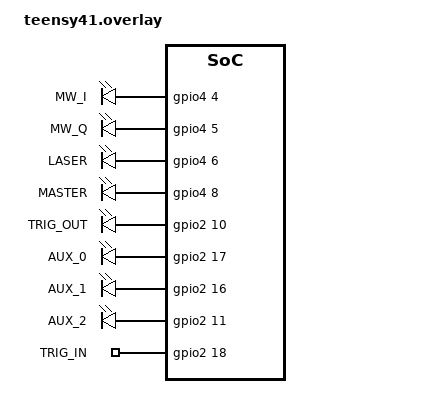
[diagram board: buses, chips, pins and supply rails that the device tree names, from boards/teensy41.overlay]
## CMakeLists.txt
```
# SPDX-License-Identifier: Apache-2.0
# NV-Center Quantum Controller Firmware
# Target: Teensy 4.1 (NXP i.MX RT1062)

cmake_minimum_required(VERSION 3.20.0)

find_package(Zephyr REQUIRED HINTS $ENV{ZEPHYR_BASE})
project(nv_center_controller)

target_sources(app PRIVATE
    src/main.c
    src/sequencer.c
    src/event_table.c
    src/usb_comm.c
    src/adc_sync.c
    src/xbar_routing.c
)

target_include_directories(app PRIVATE
    ${CMAKE_CURRENT_SOURCE_DIR}/include
)

# Enable link-time optimization for timing-critical code
if(CONFIG_LTO)
    set_property(TARGET app PROPERTY INTERPROCEDURAL_OPTIMIZATION TRUE)
endif()
```

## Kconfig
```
# NV-Center Controller Kconfig

mainmenu "NV-Center Controller Configuration"

config NV_SEQUENCER_MAX_EVENTS
    int "Maximum number of events in pulse sequence"
    default 4096
    range 64 65536
    help
      Maximum number of pulse events that can be stored in
      a single sequence. Each event is 16 bytes.

config NV_SEQUENCER_DMA_BUFFER_SIZE
    int "DMA buffer size for GPIO updates"
    default 256
    range 32 1024
    help
      Size of DMA ping-pong buffers for GPIO port updates.
      Larger buffers reduce interrupt overhead but increase latency.

config NV_SEQUENCER_TIMER_RESOLUTION_NS
    int "Timer resolution in nanoseconds"
    default 10
    range 1 1000
    help
      Minimum timing resolution for pulse edges.
      Lower values require higher timer frequency.

config NV_USB_RX_BUFFER_SIZE
    int "USB receive buffer size"
    default 4096
    range 512 65536
    help
      Size of USB CDC receive ring buffer.

config NV_USB_TX_BUFFER_SIZE
    int "USB transmit buffer size"
    default 2048
    range 512 32768
    help
      Size of USB CDC transmit ring buffer.

config NV_ADC_SAMPLE_BUFFER_SIZE
    int "ADC sample buffer size"
    default 1024
    range 128 8192
    help
      Number of ADC samples to buffer before transfer.

config NV_CHANNEL_MW_I_PIN
    int "MW I channel GPIO pin"
    default 2
    help
      GPIO pin number for Microwave I (in-phase) TTL output.

config NV_CHANNEL_MW_Q_PIN
    int "MW Q channel GPIO pin"
    default 3
    help
      GPIO pin number for Microwave Q (quadrature) TTL output.

config NV_CHANNEL_LASER_PIN
    int "Laser channel GPIO pin"
    default 4
    help
      GPIO pin number for Laser TTL output.

config NV_CHANNEL_MASTER_PIN
    int "Master pulse (lock-in) GPIO pin"
    default 5
    help
      GPIO pin number for Master pulse TTL output (lock-in reference).

config NV_CHANNEL_TRIGGER_OUT_PIN
    int "Trigger output GPIO pin"
    default 6
    help
      GPIO pin for external trigger output.

config NV_CHANNEL_TRIGGER_IN_PIN
    int "Trigger input GPIO pin"
    default 7
    help
      GPIO pin for external trigger input.

source "Kconfig.zephyr"
```

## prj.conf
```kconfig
# NV-Center Controller - Zephyr Project Configuration
# Target: Teensy 4.1 (i.MX RT1062 @ 600MHz)
#
# Build with: west build -p always -b teensy41 -S cdc-acm-console

# Core Configuration
CONFIG_MAIN_STACK_SIZE=4096
CONFIG_SYSTEM_WORKQUEUE_STACK_SIZE=2048
CONFIG_HEAP_MEM_POOL_SIZE=16384

# GPIO for TTL outputs
CONFIG_GPIO=y

# Serial and UART (required for CDC-ACM)
CONFIG_SERIAL=y
CONFIG_UART_INTERRUPT_DRIVEN=y
CONFIG_UART_LINE_CTRL=y

# Console configuration
CONFIG_CONSOLE=y
CONFIG_UART_CONSOLE=y

# Kernel timing
CONFIG_SYS_CLOCK_TICKS_PER_SEC=10000
CONFIG_TICKLESS_KERNEL=y

# Thread configuration
CONFIG_NUM_PREEMPT_PRIORITIES=16

# Logging
CONFIG_LOG=y
CONFIG_LOG_DEFAULT_LEVEL=2

# Shell for debugging
CONFIG_SHELL=y
CONFIG_SHELL_BACKEND_SERIAL=y

# Enable printk
CONFIG_PRINTK=y
CONFIG_BOOT_BANNER=n

# Ring buffer for event queue
CONFIG_RING_BUFFER=y

# Assertions for development (disable for production)
CONFIG_ASSERT=y

# Floating point
CONFIG_FPU=y

# USB Device settings (VID/PID customization)
CONFIG_USB_DEVICE_PRODUCT="NV-Center Controller"
CONFIG_USB_DEVICE_MANUFACTURER="QController"
CONFIG_USB_DEVICE_VID=0x16C0
CONFIG_USB_DEVICE_PID=0x0483
```

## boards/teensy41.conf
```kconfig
# Teensy 4.1 specific configuration
# i.MX RT1062 @ 600MHz

# Enable high-speed GPIO
CONFIG_GPIO_MCUX_IGPIO=y

# USB device driver for i.MX RT
CONFIG_USB_DC_NXP_EHCI=y

# FPU for any signal processing
CONFIG_FPU=y
```

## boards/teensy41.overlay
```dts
/*
 * NV-Center Controller - Teensy 4.1 Device Tree Overlay
 *
 * SPDX-License-Identifier: Apache-2.0
 *
 * Minimal overlay for NV-center pulse sequencer.
 * GPT and other peripherals are accessed via direct register
 * manipulation in the firmware for deterministic timing.
 *
 * USB CDC-ACM is configured via the -S cdc-acm-console snippet.
 * Build with: west build -p always -b teensy41 -S cdc-acm-console
 */

/ {
    /* NV-Center Controller pin definitions */
    nv_controller: nv-controller {
        compatible = "gpio-leds";
        status = "okay";

        /*
         * TTL Channel GPIO assignments (Teensy 4.1 pinout)
         *
         * Teensy Pin -> i.MX RT1062 GPIO
         * Pin 2  -> GPIO4.IO04 (GPIO_EMC_04)
         * Pin 3  -> GPIO4.IO05 (GPIO_EMC_05)
         * Pin 4  -> GPIO4.IO06 (GPIO_EMC_06)
         * Pin 5  -> GPIO4.IO08 (GPIO_EMC_08)
         * Pin 6  -> GPIO2.IO10 (GPIO_B0_10)
         * Pin 7  -> GPIO2.IO17 (GPIO_B1_01)
         * Pin 8  -> GPIO2.IO16 (GPIO_B1_00)
         * Pin 9  -> GPIO2.IO11 (GPIO_B0_11)
         */

        mw_i: mw-i {
            gpios = <&gpio4 4 GPIO_ACTIVE_HIGH>;
            label = "MW_I";
        };

        mw_q: mw-q {
            gpios = <&gpio4 5 GPIO_ACTIVE_HIGH>;
            label = "MW_Q";
        };

        laser: laser {
            gpios = <&gpio4 6 GPIO_ACTIVE_HIGH>;
            label = "LASER";
        };

        master: master {
            gpios = <&gpio4 8 GPIO_ACTIVE_HIGH>;
            label = "MASTER";
        };

        trig_out: trig-out {
            gpios = <&gpio2 10 GPIO_ACTIVE_HIGH>;
            label = "TRIG_OUT";
        };

        aux_0: aux-0 {
            gpios = <&gpio2 17 GPIO_ACTIVE_HIGH>;
            label = "AUX_0";
        };

        aux_1: aux-1 {
            gpios = <&gpio2 16 GPIO_ACTIVE_HIGH>;
            label = "AUX_1";
        };

        aux_2: aux-2 {
            gpios = <&gpio2 11 GPIO_ACTIVE_HIGH>;
            label = "AUX_2";
        };
    };

    /* Trigger input pin */
    nv_trigger_in: nv-trigger-in {
        compatible = "gpio-keys";
        status = "okay";

        trig_in: trig-in {
            gpios = <&gpio2 18 (GPIO_ACTIVE_HIGH | GPIO_PULL_DOWN)>;
            label = "TRIG_IN";
        };
    };
};

/* Enable required GPIO ports */
&gpio1 {
    status = "okay";
};

&gpio2 {
    status = "okay";
};

&gpio4 {
    status = "okay";
};
```

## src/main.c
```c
/*
 * NV-Center Controller - Main Application
 *
 * SPDX-License-Identifier: Apache-2.0
 *
 * Firmware for NV-center quantum sensing experiments.
 * Target: Teensy 4.1 (NXP i.MX RT1062)
 * RTOS: Zephyr
 *
 * Features:
 * - Hardware-timed pulse sequence generation (<10ns jitter)
 * - USB CDC communication with host UI
 * - Phase-aligned ADC acquisition via ADC_ETC
 * - Standard NV sensing sequences (Rabi, Ramsey, Hahn Echo, ODMR)
 *
 * Architecture:
 * ┌─────────────────────────────────────────────────────────────────┐
 * │                        Host PC (UI)                             │
 * └───────────────────────────┬─────────────────────────────────────┘
 *                             │ USB CDC
 *                             ▼
 * ┌─────────────────────────────────────────────────────────────────┐
 * │                    USB Communication                            │
 * │                   (usb_comm.c)                                   │
 * └───────────────────────────┬─────────────────────────────────────┘
 *                             │
 *              ┌──────────────┼──────────────┐
 *              ▼              ▼              ▼
 * ┌───────────────────┐ ┌───────────┐ ┌───────────────┐
 * │    Sequencer      │ │   ADC     │ │   Direct I/O  │
 * │  (sequencer.c)    │ │(adc_sync) │ │   Control     │
 * └─────────┬─────────┘ └─────┬─────┘ └───────────────┘
 *           │                 │
 *           ▼                 ▼
 * ┌───────────────────────────────────────────┐
 * │              XBAR Routing                 │
 * │           (xbar_routing.c)                │
 * └───────────────────────────────────────────┘
 *           │                 │
 *           ▼                 ▼
 * ┌─────────────────┐  ┌─────────────────┐
 * │   GPT Timer     │  │    ADC_ETC      │
 * │   + DMA         │  │                 │
 * └────────┬────────┘  └────────┬────────┘
 *          │                    │
 *          ▼                    ▼
 * ┌─────────────────┐  ┌─────────────────┐
 * │     GPIO        │  │      ADC        │
 * │   (TTL Out)     │  │   (12-bit)      │
 * └─────────────────┘  └─────────────────┘
 */

#include <zephyr/kernel.h>
#include <zephyr/device.h>
#include <zephyr/drivers/gpio.h>
#include <zephyr/shell/shell.h>
#include <zephyr/logging/log.h>
#include <zephyr/sys/printk.h>

#include "nv_controller.h"
#include "sequencer.h"
#include "event_table.h"
#include "usb_comm.h"
#include "adc_sync.h"
#include "xbar_routing.h"

LOG_MODULE_REGISTER(main, CONFIG_LOG_DEFAULT_LEVEL);

/*
 * Thread stack sizes and priorities
 */
#define USB_THREAD_STACK_SIZE   2048
#define USB_THREAD_PRIORITY     5

#define STATUS_LED_STACK_SIZE   512
#define STATUS_LED_PRIORITY     10

/*
 * Thread stacks
 */
K_THREAD_STACK_DEFINE(usb_thread_stack, USB_THREAD_STACK_SIZE);
K_THREAD_STACK_DEFINE(status_led_stack, STATUS_LED_STACK_SIZE);

static struct k_thread usb_thread_data;
static struct k_thread status_led_thread_data;

/*
 * Global state
 */
static nv_status_t controller_status = NV_STATUS_IDLE;
static nv_statistics_t controller_stats;

/* Status LED (Teensy 4.1 onboard LED = GPIO1.2) */
static const struct gpio_dt_spec status_led = {
    .port = DEVICE_DT_GET(DT_NODELABEL(gpio1)),
    .pin = 2,
    .dt_flags = GPIO_ACTIVE_HIGH,
};

/*
 * Sequence completion callback
 */
static void sequence_complete_callback(nv_status_t status, void *user_data)
{
    ARG_UNUSED(user_data);

    controller_stats.sequences_completed++;

    LOG_INF("Sequence completed, status=%d", status);

    /* Send completion event to host */
    uint8_t event_data[4] = {
        status,
        controller_stats.sequences_completed & 0xFF,
        (controller_stats.sequences_completed >> 8) & 0xFF,
        0
    };
    usb_comm_send_event(EVENT_SEQ_COMPLETE, event_data, sizeof(event_data));
}

/*
 * ADC data ready callback
 */
static void adc_data_ready_callback(const uint16_t *data, uint32_t count,
                                    uint32_t timestamp, void *user_data)
{
    ARG_UNUSED(user_data);

    LOG_DBG("ADC data ready: %u samples at t=%u", count, timestamp);

    /* Send ADC ready event to host */
    uint8_t event_data[8] = {
        count & 0xFF,
        (count >> 8) & 0xFF,
        (count >> 16) & 0xFF,
        (count >> 24) & 0xFF,
        timestamp & 0xFF,
        (timestamp >> 8) & 0xFF,
        (timestamp >> 16) & 0xFF,
        (timestamp >> 24) & 0xFF,
    };
    usb_comm_send_event(EVENT_ADC_READY, event_data, sizeof(event_data));
}

/*
 * USB communication thread
 */
static void usb_thread_entry(void *p1, void *p2, void *p3)
{
    ARG_UNUSED(p1);
    ARG_UNUSED(p2);
    ARG_UNUSED(p3);

    LOG_INF("USB communication thread started");

    while (1) {
        /* Process USB commands */
        usb_comm_process();

        /* Yield to other threads */
        k_msleep(1);
    }
}

/*
 * Status LED thread - indicates system state
 */
static void status_led_thread_entry(void *p1, void *p2, void *p3)
{
    ARG_UNUSED(p1);
    ARG_UNUSED(p2);
    ARG_UNUSED(p3);

    if (!device_is_ready(status_led.port)) {
        LOG_WRN("Status LED GPIO not ready");
        return;
    }

    gpio_pin_configure_dt(&status_led, GPIO_OUTPUT_INACTIVE);

    while (1) {
        seq_state_t state;
        seq_get_state(&state);

        switch (state.status) {
        case NV_STATUS_IDLE:
            /* Slow blink - idle */
            gpio_pin_toggle_dt(&status_led);
            k_msleep(1000);
            break;

        case NV_STATUS_ARMED:
            /* Medium blink - armed */
            gpio_pin_toggle_dt(&status_led);
            k_msleep(250);
            break;

        case NV_STATUS_RUNNING:
            /* Fast blink - running */
            gpio_pin_toggle_dt(&status_led);
            k_msleep(50);
            break;

        case NV_STATUS_ERROR:
            /* Double blink - error */
            gpio_pin_set_dt(&status_led, 1);
            k_msleep(100);
            gpio_pin_set_dt(&status_led, 0);
            k_msleep(100);
            gpio_pin_set_dt(&status_led, 1);
            k_msleep(100);
            gpio_pin_set_dt(&status_led, 0);
            k_msleep(700);
            break;

        default:
            k_msleep(500);
            break;
        }
    }
}

/*
 * Shell Commands for debugging
 */

static int cmd_status(const struct shell *sh, size_t argc, char **argv)
{
    ARG_UNUSED(argc);
    ARG_UNUSED(argv);

    seq_state_t state;
    seq_get_state(&state);

    shell_print(sh, "NV-Center Controller Status");
    shell_print(sh, "===========================");
    shell_print(sh, "Version: %d.%d.%d",
                NV_CONTROLLER_VERSION_MAJOR,
                NV_CONTROLLER_VERSION_MINOR,
                NV_CONTROLLER_VERSION_PATCH);
    shell_print(sh, "Status: %d", state.status);
    shell_print(sh, "Current event: %u", state.current_event_index);
    shell_print(sh, "Events remaining: %u", state.events_remaining);
    shell_print(sh, "Loops completed: %u", state.loops_completed);
    shell_print(sh, "Output state: 0x%02X", state.current_output);
    shell_print(sh, "Timer count: %u", state.current_timestamp);
    shell_print(sh, "Uptime: %u ms", k_uptime_get_32());

    return 0;
}

static int cmd_stats(const struct shell *sh, size_t argc, char **argv)
{
    ARG_UNUSED(argc);
    ARG_UNUSED(argv);

    shell_print(sh, "Statistics");
    shell_print(sh, "==========");
    shell_print(sh, "Sequences completed: %u", controller_stats.sequences_completed);
    shell_print(sh, "Events executed: %u", controller_stats.events_executed);
    shell_print(sh, "Trigger count: %u", controller_stats.trigger_count);
    shell_print(sh, "Overflow count: %u", controller_stats.overflow_count);

    uint32_t rx_bytes, tx_bytes, errors;
    usb_comm_get_stats(&rx_bytes, &tx_bytes, &errors);
    shell_print(sh, "USB RX: %u bytes", rx_bytes);
    shell_print(sh, "USB TX: %u bytes", tx_bytes);
    shell_print(sh, "USB errors: %u", errors);

    return 0;
}

static int cmd_set_output(const struct shell *sh, size_t argc, char **argv)
{
    if (argc < 2) {
        shell_print(sh, "Usage: set_output <mask>");
        return -EINVAL;
    }

    uint8_t mask = strtoul(argv[1], NULL, 0);
    seq_set_outputs(mask);

    shell_print(sh, "Outputs set to 0x%02X", mask);

    return 0;
}

static int cmd_pulse(const struct shell *sh, size_t argc, char **argv)
{
    if (argc < 3) {
        shell_print(sh, "Usage: pulse <channel> <duration_us>");
        return -EINVAL;
    }

    uint8_t channel = strtoul(argv[1], NULL, 0);
    uint32_t duration = strtoul(argv[2], NULL, 0);

    if (channel >= NV_CHANNEL_COUNT) {
        shell_print(sh, "Invalid channel: %d", channel);
        return -EINVAL;
    }

    shell_print(sh, "Generating pulse on channel %d for %u us", channel, duration);

    seq_set_channel(channel, true);
    k_busy_wait(duration);
    seq_set_channel(channel, false);

    return 0;
}

static int cmd_test_sequence(const struct shell *sh, size_t argc, char **argv)
{
    ARG_UNUSED(argc);
    ARG_UNUSED(argv);

    shell_print(sh, "Loading test Rabi sequence...");

    static event_table_t test_table;
    nv_error_t err = event_table_rabi(&test_table, 3, 100, 1, 10);

    if (err != NV_OK) {
        shell_print(sh, "Failed to create sequence: %d", err);
        return -EIO;
    }

    err = seq_load(&test_table);
    if (err != NV_OK) {
        shell_print(sh, "Failed to load sequence: %d", err);
        return -EIO;
    }

    shell_print(sh, "Sequence loaded: %u events", test_table.header.event_count);
    shell_print(sh, "Duration: %u ticks (%u ns)",
                test_table.header.duration_ticks,
                nv_ticks_to_ns(test_table.header.duration_ticks));

    return 0;
}

static int cmd_arm(const struct shell *sh, size_t argc, char **argv)
{
    ARG_UNUSED(argc);
    ARG_UNUSED(argv);

    nv_error_t err = seq_arm();
    if (err != NV_OK) {
        shell_print(sh, "Failed to arm: %d", err);
        return -EIO;
    }

    shell_print(sh, "Sequencer armed");
    return 0;
}

static int cmd_trigger(const struct shell *sh, size_t argc, char **argv)
{
    ARG_UNUSED(argc);
    ARG_UNUSED(argv);

    nv_error_t err = seq_trigger();
    if (err != NV_OK) {
        shell_print(sh, "Failed to trigger: %d", err);
        return -EIO;
    }

    shell_print(sh, "Sequence triggered");
    return 0;
}

static int cmd_abort(const struct shell *sh, size_t argc, char **argv)
{
    ARG_UNUSED(argc);
    ARG_UNUSED(argv);

    seq_abort();
    shell_print(sh, "Sequence aborted");
    return 0;
}

static int cmd_xbar_dump(const struct shell *sh, size_t argc, char **argv)
{
    ARG_UNUSED(argc);
    ARG_UNUSED(argv);

    xbar_dump_config();
    shell_print(sh, "XBAR configuration dumped to log");
    return 0;
}

/* Register shell commands */
SHELL_STATIC_SUBCMD_SET_CREATE(nv_cmds,
    SHELL_CMD(status, NULL, "Show system status", cmd_status),
    SHELL_CMD(stats, NULL, "Show statistics", cmd_stats),
    SHELL_CMD(set_output, NULL, "Set output mask", cmd_set_output),
    SHELL_CMD(pulse, NULL, "Generate pulse <ch> <us>", cmd_pulse),
    SHELL_CMD(test, NULL, "Load test sequence", cmd_test_sequence),
    SHELL_CMD(arm, NULL, "Arm sequencer", cmd_arm),
    SHELL_CMD(trigger, NULL, "Software trigger", cmd_trigger),
    SHELL_CMD(abort, NULL, "Abort sequence", cmd_abort),
    SHELL_CMD(xbar, NULL, "Dump XBAR config", cmd_xbar_dump),
    SHELL_SUBCMD_SET_END
);

SHELL_CMD_REGISTER(nv, &nv_cmds, "NV-Center Controller commands", NULL);

/*
 * Global API Implementation
 */

nv_error_t nv_controller_init(void)
{
    return NV_OK;  /* Initialization done in main() */
}

nv_error_t nv_controller_start(void)
{
    return seq_arm();
}

nv_error_t nv_controller_stop(void)
{
    return seq_abort();
}

nv_status_t nv_controller_get_status(void)
{
    seq_state_t state;
    seq_get_state(&state);
    return state.status;
}

void nv_controller_get_info(nv_system_info_t *info)
{
    if (!info) return;

    info->version_major = NV_CONTROLLER_VERSION_MAJOR;
    info->version_minor = NV_CONTROLLER_VERSION_MINOR;
    info->version_patch = NV_CONTROLLER_VERSION_PATCH;
    info->channel_count = NV_CHANNEL_COUNT;
    info->timer_freq_hz = NV_TIMER_FREQ_HZ;
    info->min_pulse_ns = NV_TIMER_TICK_NS * NV_MIN_PULSE_TICKS;
    info->max_events = CONFIG_NV_SEQUENCER_MAX_EVENTS;
    info->dma_buffer_size = CONFIG_NV_SEQUENCER_DMA_BUFFER_SIZE;
}

void nv_controller_get_statistics(nv_statistics_t *stats)
{
    if (stats) {
        memcpy(stats, &controller_stats, sizeof(nv_statistics_t));
    }
}

void nv_controller_reset_statistics(void)
{
    memset(&controller_stats, 0, sizeof(nv_statistics_t));
}

/*
 * Main Entry Point
 */

int main(void)
{
    nv_error_t err;

    printk("\n");
    printk("==========================================\n");
    printk("  NV-Center Quantum Controller v%d.%d.%d\n",
           NV_CONTROLLER_VERSION_MAJOR,
           NV_CONTROLLER_VERSION_MINOR,
           NV_CONTROLLER_VERSION_PATCH);
    printk("  Target: Teensy 4.1 (i.MX RT1062)\n");
    printk("  Timer: %u MHz, Resolution: %u ns\n",
           NV_TIMER_FREQ_HZ / 1000000,
           NV_TIMER_TICK_NS);
    printk("==========================================\n\n");

    LOG_INF("Initializing NV-Center Controller...");

    /* Initialize XBAR first (required by other subsystems) */
    err = xbar_init();
    if (err != NV_OK) {
        LOG_ERR("Failed to initialize XBAR: %d", err);
        return -1;
    }

    /* Initialize pulse sequencer */
    err = seq_init();
    if (err != NV_OK) {
        LOG_ERR("Failed to initialize sequencer: %d", err);
        return -1;
    }

    /* Set up sequencer callback */
    seq_set_completion_callback(sequence_complete_callback, NULL);

    /* Initialize ADC synchronization (optional - warn but continue if fails) */
    err = adc_sync_init();
    if (err != NV_OK) {
        LOG_WRN("ADC initialization failed: %d (continuing without ADC)", err);
    } else {
        /* Set up ADC callback */
        adc_sync_set_data_callback(adc_data_ready_callback, NULL);
    }

    /* Apply standard NV XBAR configuration */
    err = xbar_apply_nv_config();
    if (err != NV_OK) {
        LOG_ERR("Failed to apply XBAR config: %d", err);
        return -1;
    }

    /* Initialize USB communication */
    err = usb_comm_init();
    if (err != NV_OK) {
        LOG_ERR("Failed to initialize USB: %d", err);
        return -1;
    }

    /* Configure default sequencer settings */
    seq_config_t default_config = {
        .mode = SEQ_MODE_ONESHOT,
        .trigger = NV_TRIGGER_SOFTWARE,
        .repeat_count = 1,
        .trigger_delay_ticks = 0,
        .auto_rearm = false,
        .sync_adc = true,
        .adc_trigger_offset = 0,
    };
    seq_configure(&default_config);

    LOG_INF("Initialization complete");

    /* Create USB processing thread */
    k_thread_create(&usb_thread_data, usb_thread_stack,
                    K_THREAD_STACK_SIZEOF(usb_thread_stack),
                    usb_thread_entry, NULL, NULL, NULL,
                    USB_THREAD_PRIORITY, 0, K_NO_WAIT);
    k_thread_name_set(&usb_thread_data, "usb_comm");

    /* Create status LED thread */
    k_thread_create(&status_led_thread_data, status_led_stack,
                    K_THREAD_STACK_SIZEOF(status_led_stack),
                    status_led_thread_entry, NULL, NULL, NULL,
                    STATUS_LED_PRIORITY, 0, K_NO_WAIT);
    k_thread_name_set(&status_led_thread_data, "status_led");

    LOG_INF("System ready. Waiting for commands...");

    /* Main thread just sleeps - work is done in other threads */
    while (1) {
        k_msleep(1000);
    }

    return 0;
}
```

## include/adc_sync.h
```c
/*
 * NV-Center Controller - ADC Synchronization
 *
 * SPDX-License-Identifier: Apache-2.0
 *
 * Synchronized ADC acquisition using ADC_ETC (External Trigger Control).
 *
 * Architecture:
 *
 * ┌─────────────┐     XBAR      ┌─────────────┐
 * │    GPT1     │──────────────▶│   ADC_ETC   │
 * │  (Compare)  │   Trigger     │  (Chain 0)  │
 * └─────────────┘               └──────┬──────┘
 *                                      │
 *                               ┌──────▼──────┐
 *                               │    ADC1     │
 *                               │  (12-bit)   │
 *                               └──────┬──────┘
 *                                      │ DMA
 *                               ┌──────▼──────┐
 *                               │   Buffer    │
 *                               │  (Ring)     │
 *                               └─────────────┘
 *
 * The ADC_ETC allows precise phase-aligned sampling with the pulse sequence.
 * Trigger events are generated from the master pulse for lock-in detection.
 */

#ifndef ADC_SYNC_H
#define ADC_SYNC_H

#include "nv_controller.h"

#ifdef __cplusplus
extern "C" {
#endif

/*
 * ADC Configuration Constants
 */
#define ADC_MAX_CHANNELS        8
#define ADC_MAX_RESOLUTION      12
#define ADC_MAX_SAMPLE_RATE     3000000  /* 3 MSPS (12-bit) */

#ifndef CONFIG_NV_ADC_SAMPLE_BUFFER_SIZE
#define CONFIG_NV_ADC_SAMPLE_BUFFER_SIZE 1024
#endif

/*
 * ADC Trigger Sources
 */
typedef enum {
    ADC_TRIG_SOFTWARE   = 0,  /* Software trigger */
    ADC_TRIG_GPT1       = 1,  /* GPT1 compare match */
    ADC_TRIG_GPT2       = 2,  /* GPT2 compare match */
    ADC_TRIG_PWM        = 3,  /* FlexPWM trigger */
    ADC_TRIG_EXTERNAL   = 4,  /* External trigger input */
    ADC_TRIG_MASTER     = 5,  /* Master pulse edge */
} adc_trigger_source_t;

/*
 * ADC Status
 */
typedef enum {
    ADC_STATUS_IDLE         = 0,
    ADC_STATUS_CONFIGURED   = 1,
    ADC_STATUS_RUNNING      = 2,
    ADC_STATUS_COMPLETE     = 3,
    ADC_STATUS_ERROR        = 4,
} adc_status_t;

/*
 * ADC Configuration Structure
 */
typedef struct {
    uint8_t channel;            /* ADC input channel (0-7) */
    uint8_t resolution;         /* Resolution in bits (8, 10, 12) */
    uint8_t averaging;          /* Hardware averaging (1, 4, 8, 16, 32) */
    uint8_t trigger_source;     /* adc_trigger_source_t */
    uint32_t sample_count;      /* Number of samples to acquire */
    uint32_t sample_interval_ns; /* Interval between samples (if continuous) */
    bool continuous;            /* Continuous acquisition mode */
    bool double_buffer;         /* Use double buffering for streaming */
} adc_config_t;

/*
 * ADC Sample Buffer
 */
typedef struct {
    uint16_t *data;             /* Sample data buffer */
    uint32_t capacity;          /* Buffer capacity in samples */
    uint32_t count;             /* Number of valid samples */
    uint32_t read_index;        /* Read position (for streaming) */
    uint32_t write_index;       /* Write position (for streaming) */
    uint32_t timestamp;         /* Timestamp of first sample */
    bool overflow;              /* Buffer overflow flag */
} adc_buffer_t;

/*
 * ADC Statistics
 */
typedef struct {
    uint32_t triggers_received;
    uint32_t samples_acquired;
    uint32_t overflows;
    uint32_t underruns;
    uint16_t last_value;
    uint16_t min_value;
    uint16_t max_value;
    uint32_t sum;               /* For averaging */
} adc_statistics_t;

/*
 * Callback types
 */
typedef void (*adc_data_callback_t)(const uint16_t *data,
                                    uint32_t count,
                                    uint32_t timestamp,
                                    void *user_data);

typedef void (*adc_trigger_callback_t)(uint32_t timestamp, void *user_data);

/*
 * ADC Synchronization API
 */

/**
 * @brief Initialize ADC subsystem
 *
 * @return NV_OK on success
 */
nv_error_t adc_sync_init(void);

/**
 * @brief Deinitialize ADC subsystem
 *
 * @return NV_OK on success
 */
nv_error_t adc_sync_deinit(void);

/**
 * @brief Configure ADC channel
 *
 * @param config ADC configuration
 * @return NV_OK on success
 */
nv_error_t adc_sync_configure(const adc_config_t *config);

/**
 * @brief Start ADC acquisition
 *
 * @return NV_OK on success
 */
nv_error_t adc_sync_start(void);

/**
 * @brief Stop ADC acquisition
 *
 * @return NV_OK on success
 */
nv_error_t adc_sync_stop(void);

/**
 * @brief Issue software trigger
 *
 * @return NV_OK on success
 */
nv_error_t adc_sync_trigger(void);

/**
 * @brief Get current ADC status
 *
 * @return ADC status
 */
adc_status_t adc_sync_get_status(void);

/**
 * @brief Get sample buffer
 *
 * @param buffer Pointer to buffer structure to fill
 * @return NV_OK on success
 */
nv_error_t adc_sync_get_buffer(adc_buffer_t *buffer);

/**
 * @brief Read samples from buffer
 *
 * @param data Destination buffer
 * @param max_samples Maximum samples to read
 * @param samples_read Actual samples read (output)
 * @return NV_OK on success
 */
nv_error_t adc_sync_read(uint16_t *data, uint32_t max_samples, uint32_t *samples_read);

/**
 * @brief Get ADC statistics
 *
 * @param stats Pointer to statistics structure
 */
void adc_sync_get_statistics(adc_statistics_t *stats);

/**
 * @brief Reset ADC statistics
 */
void adc_sync_reset_statistics(void);

/**
 * @brief Set data ready callback
 *
 * @param callback Callback function
 * @param user_data User context
 */
void adc_sync_set_data_callback(adc_data_callback_t callback, void *user_data);

/**
 * @brief Set trigger callback
 *
 * @param callback Callback function
 * @param user_data User context
 */
void adc_sync_set_trigger_callback(adc_trigger_callback_t callback, void *user_data);

/**
 * @brief Synchronize ADC with sequencer master pulse
 *
 * Sets up XBAR routing so ADC triggers on master pulse edge.
 *
 * @param offset_ns Offset from master pulse edge in nanoseconds
 * @param sample_count Number of samples per trigger
 * @return NV_OK on success
 */
nv_error_t adc_sync_with_master(int32_t offset_ns, uint32_t sample_count);

/**
 * @brief Enable/disable lock-in integration mode
 *
 * When enabled, ADC accumulates samples for lock-in detection.
 *
 * @param enable Enable flag
 * @param reference_channel Channel providing reference (MASTER)
 * @return NV_OK on success
 */
nv_error_t adc_sync_lockin_mode(bool enable, nv_channel_t reference_channel);

/**
 * @brief Get lock-in integrated result
 *
 * @param in_phase In-phase (X) component
 * @param quadrature Quadrature (Y) component
 * @return NV_OK on success
 */
nv_error_t adc_sync_lockin_result(int32_t *in_phase, int32_t *quadrature);

/*
 * Low-level hardware functions
 */

/**
 * @brief Configure ADC_ETC trigger chain
 *
 * @param chain_id Chain ID (0-7)
 * @param trigger_source Hardware trigger source
 * @return NV_OK on success
 */
nv_error_t adc_etc_configure_chain(uint8_t chain_id, uint8_t trigger_source);

/**
 * @brief Configure XBAR routing for ADC trigger
 *
 * @param source XBAR input signal
 * @param dest XBAR output to ADC_ETC
 * @return NV_OK on success
 */
nv_error_t adc_xbar_route(uint8_t source, uint8_t dest);

/**
 * @brief Setup DMA for ADC transfers
 *
 * @param buffer Destination buffer
 * @param count Number of transfers
 * @param circular Enable circular buffer mode
 * @return NV_OK on success
 */
nv_error_t adc_dma_setup(uint16_t *buffer, uint32_t count, bool circular);

#ifdef __cplusplus
}
#endif

#endif /* ADC_SYNC_H */
```

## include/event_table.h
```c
/*
 * NV-Center Controller - Event Table
 *
 * SPDX-License-Identifier: Apache-2.0
 *
 * Event table structure for storing pulse sequences.
 * Events are stored as time-ordered (timestamp, channel_mask) pairs.
 *
 * Protocol Format (binary, little-endian):
 *
 * Event Entry (8 bytes):
 * ┌────────────────────────────────────────────────────────────┐
 * │ timestamp (4 bytes) │ channel_mask (1 byte) │ flags (1 byte) │ reserved (2 bytes) │
 * └────────────────────────────────────────────────────────────┘
 *
 * Timestamps are in timer ticks (6.67ns resolution @ 150MHz).
 * Events must be sorted by timestamp in ascending order.
 */

#ifndef EVENT_TABLE_H
#define EVENT_TABLE_H

#include "nv_controller.h"

#ifdef __cplusplus
extern "C" {
#endif

/*
 * Maximum events in a sequence
 */
#ifndef CONFIG_NV_SEQUENCER_MAX_EVENTS
#define CONFIG_NV_SEQUENCER_MAX_EVENTS 4096
#endif

/*
 * Event Flags
 */
typedef enum {
    EVENT_FLAG_NONE         = 0x00,
    EVENT_FLAG_ADC_TRIGGER  = 0x01,  /* Trigger ADC acquisition at this event */
    EVENT_FLAG_LOOP_START   = 0x02,  /* Mark start of loop section */
    EVENT_FLAG_LOOP_END     = 0x04,  /* Mark end of loop section */
    EVENT_FLAG_SYNC_MARKER  = 0x08,  /* Synchronization marker */
    EVENT_FLAG_TRIGGER_OUT  = 0x10,  /* Assert trigger output */
} event_flags_t;

/*
 * Single Pulse Event
 *
 * Represents a state change at a specific timestamp.
 * The channel_mask defines which channels are HIGH at this time.
 */
typedef struct __attribute__((packed, aligned(4))) {
    uint32_t timestamp_ticks;   /* Time in timer ticks from sequence start */
    nv_channel_mask_t mask;     /* Channel output states (1=HIGH, 0=LOW) */
    uint8_t flags;              /* Event flags */
    uint16_t reserved;          /* Reserved for future use / alignment */
} pulse_event_t;

_Static_assert(sizeof(pulse_event_t) == 8, "Event size must be 8 bytes for DMA alignment");

/*
 * Event Table Header
 *
 * Metadata for a pulse sequence.
 */
typedef struct {
    uint32_t magic;             /* Magic number for validation (0x4E565351 = "NVSQ") */
    uint16_t version;           /* Table format version */
    uint16_t flags;             /* Table-level flags */
    uint32_t event_count;       /* Number of events in table */
    uint32_t duration_ticks;    /* Total sequence duration */
    uint32_t loop_start_idx;    /* Index of loop start (if looping) */
    uint32_t loop_end_idx;      /* Index of loop end (if looping) */
    uint32_t loop_count;        /* Number of loop iterations (0 = infinite) */
    uint32_t checksum;          /* CRC32 of event data */
} event_table_header_t;

#define EVENT_TABLE_MAGIC 0x4E565351  /* "NVSQ" */
#define EVENT_TABLE_VERSION 0x0100    /* Version 1.0 */

/*
 * Event Table Structure
 *
 * Complete sequence container with header and events.
 */
typedef struct {
    event_table_header_t header;
    pulse_event_t events[CONFIG_NV_SEQUENCER_MAX_EVENTS];
} event_table_t;

/*
 * Pulse Builder
 *
 * Helper structure for constructing pulse sequences programmatically.
 */
typedef struct {
    event_table_t *table;
    uint32_t current_time;      /* Current time position in ticks */
    nv_channel_mask_t current_state;  /* Current output state */
    bool error;                 /* Error flag */
} pulse_builder_t;

/*
 * Event Table API Functions
 */

/**
 * @brief Initialize an empty event table
 *
 * @param table Pointer to event table to initialize
 */
void event_table_init(event_table_t *table);

/**
 * @brief Clear all events from table
 *
 * @param table Pointer to event table
 */
void event_table_clear(event_table_t *table);

/**
 * @brief Add a pulse event to the table
 *
 * Events are automatically sorted by timestamp.
 *
 * @param table Pointer to event table
 * @param timestamp Time in ticks
 * @param mask Channel output states
 * @param flags Event flags
 * @return NV_OK on success, NV_ERR_OVERFLOW if table full
 */
nv_error_t event_table_add(event_table_t *table,
                           uint32_t timestamp,
                           nv_channel_mask_t mask,
                           uint8_t flags);

/**
 * @brief Add pulse event using nanosecond timestamp
 *
 * @param table Pointer to event table
 * @param timestamp_ns Time in nanoseconds
 * @param mask Channel output states
 * @param flags Event flags
 * @return NV_OK on success
 */
nv_error_t event_table_add_ns(event_table_t *table,
                              uint32_t timestamp_ns,
                              nv_channel_mask_t mask,
                              uint8_t flags);

/**
 * @brief Insert event at specific index
 *
 * @param table Pointer to event table
 * @param index Index to insert at
 * @param event Event to insert
 * @return NV_OK on success
 */
nv_error_t event_table_insert(event_table_t *table,
                              uint32_t index,
                              const pulse_event_t *event);

/**
 * @brief Remove event at index
 *
 * @param table Pointer to event table
 * @param index Index to remove
 * @return NV_OK on success
 */
nv_error_t event_table_remove(event_table_t *table, uint32_t index);

/**
 * @brief Get event at index
 *
 * @param table Pointer to event table
 * @param index Event index
 * @return Pointer to event, or NULL if index invalid
 */
const pulse_event_t *event_table_get(const event_table_t *table, uint32_t index);

/**
 * @brief Get number of events in table
 *
 * @param table Pointer to event table
 * @return Event count
 */
uint32_t event_table_count(const event_table_t *table);

/**
 * @brief Sort events by timestamp
 *
 * Call after adding events out of order.
 *
 * @param table Pointer to event table
 */
void event_table_sort(event_table_t *table);

/**
 * @brief Validate event table integrity
 *
 * Checks timestamp ordering, flag consistency, etc.
 *
 * @param table Pointer to event table
 * @return NV_OK if valid, error code otherwise
 */
nv_error_t event_table_validate(const event_table_t *table);

/**
 * @brief Calculate CRC32 checksum of event data
 *
 * @param table Pointer to event table
 * @return CRC32 checksum
 */
uint32_t event_table_checksum(const event_table_t *table);

/**
 * @brief Set loop points in sequence
 *
 * @param table Pointer to event table
 * @param start_idx Start event index
 * @param end_idx End event index
 * @param count Loop iterations (0 = infinite)
 * @return NV_OK on success
 */
nv_error_t event_table_set_loop(event_table_t *table,
                                uint32_t start_idx,
                                uint32_t end_idx,
                                uint32_t count);

/**
 * @brief Serialize event table to binary buffer
 *
 * @param table Source event table
 * @param buffer Destination buffer
 * @param buffer_size Buffer size
 * @param bytes_written Actual bytes written (output)
 * @return NV_OK on success
 */
nv_error_t event_table_serialize(const event_table_t *table,
                                 uint8_t *buffer,
                                 size_t buffer_size,
                                 size_t *bytes_written);

/**
 * @brief Deserialize event table from binary buffer
 *
 * @param table Destination event table
 * @param buffer Source buffer
 * @param buffer_size Buffer size
 * @return NV_OK on success, NV_ERR_PROTOCOL if invalid
 */
nv_error_t event_table_deserialize(event_table_t *table,
                                   const uint8_t *buffer,
                                   size_t buffer_size);

/*
 * Pulse Builder API
 *
 * Fluent interface for constructing sequences.
 */

/**
 * @brief Initialize pulse builder
 *
 * @param builder Builder context
 * @param table Target event table
 */
void pulse_builder_init(pulse_builder_t *builder, event_table_t *table);

/**
 * @brief Reset builder to time zero
 *
 * @param builder Builder context
 */
void pulse_builder_reset(pulse_builder_t *builder);

/**
 * @brief Set channel high at current time
 *
 * @param builder Builder context
 * @param channel Channel to set
 * @return Builder pointer for chaining
 */
pulse_builder_t *pulse_builder_set(pulse_builder_t *builder, nv_channel_t channel);

/**
 * @brief Set channel low at current time
 *
 * @param builder Builder context
 * @param channel Channel to clear
 * @return Builder pointer for chaining
 */
pulse_builder_t *pulse_builder_clear(pulse_builder_t *builder, nv_channel_t channel);

/**
 * @brief Toggle channel at current time
 *
 * @param builder Builder context
 * @param channel Channel to toggle
 * @return Builder pointer for chaining
 */
pulse_builder_t *pulse_builder_toggle(pulse_builder_t *builder, nv_channel_t channel);

/**
 * @brief Set multiple channels from mask
 *
 * @param builder Builder context
 * @param mask Channel mask
 * @return Builder pointer for chaining
 */
pulse_builder_t *pulse_builder_set_mask(pulse_builder_t *builder, nv_channel_mask_t mask);

/**
 * @brief Advance time by specified ticks
 *
 * @param builder Builder context
 * @param ticks Time to advance
 * @return Builder pointer for chaining
 */
pulse_builder_t *pulse_builder_delay_ticks(pulse_builder_t *builder, uint32_t ticks);

/**
 * @brief Advance time by nanoseconds
 *
 * @param builder Builder context
 * @param ns Nanoseconds to advance
 * @return Builder pointer for chaining
 */
pulse_builder_t *pulse_builder_delay_ns(pulse_builder_t *builder, uint32_t ns);

/**
 * @brief Advance time by microseconds
 *
 * @param builder Builder context
 * @param us Microseconds to advance
 * @return Builder pointer for chaining
 */
pulse_builder_t *pulse_builder_delay_us(pulse_builder_t *builder, uint32_t us);

/**
 * @brief Generate a pulse on channel
 *
 * Sets channel high, waits duration, sets low.
 *
 * @param builder Builder context
 * @param channel Channel for pulse
 * @param duration_ns Pulse duration in nanoseconds
 * @return Builder pointer for chaining
 */
pulse_builder_t *pulse_builder_pulse_ns(pulse_builder_t *builder,
                                        nv_channel_t channel,
                                        uint32_t duration_ns);

/**
 * @brief Add ADC trigger marker at current time
 *
 * @param builder Builder context
 * @return Builder pointer for chaining
 */
pulse_builder_t *pulse_builder_adc_trigger(pulse_builder_t *builder);

/**
 * @brief Mark loop start at current position
 *
 * @param builder Builder context
 * @return Builder pointer for chaining
 */
pulse_builder_t *pulse_builder_loop_start(pulse_builder_t *builder);

/**
 * @brief Mark loop end at current position
 *
 * @param builder Builder context
 * @param count Loop iterations
 * @return Builder pointer for chaining
 */
pulse_builder_t *pulse_builder_loop_end(pulse_builder_t *builder, uint32_t count);

/**
 * @brief Finalize and validate the built sequence
 *
 * @param builder Builder context
 * @return NV_OK if successful, error otherwise
 */
nv_error_t pulse_builder_finalize(pulse_builder_t *builder);

/**
 * @brief Check if builder encountered error
 *
 * @param builder Builder context
 * @return true if error occurred
 */
bool pulse_builder_has_error(const pulse_builder_t *builder);

/*
 * Standard NV-Center Sequence Templates
 */

/**
 * @brief Create Rabi oscillation measurement sequence
 *
 * Laser init -> MW pulse (variable) -> Laser readout
 *
 * @param table Target event table
 * @param init_us Initialization laser duration (us)
 * @param mw_ns Microwave pulse duration (ns)
 * @param readout_us Readout laser duration (us)
 * @param repeat Number of sequence repeats
 * @return NV_OK on success
 */
nv_error_t event_table_rabi(event_table_t *table,
                            uint32_t init_us,
                            uint32_t mw_ns,
                            uint32_t readout_us,
                            uint32_t repeat);

/**
 * @brief Create Ramsey measurement sequence
 *
 * Laser init -> π/2 -> tau delay -> π/2 -> Laser readout
 *
 * @param table Target event table
 * @param init_us Initialization laser duration (us)
 * @param pi2_ns Pi/2 pulse duration (ns)
 * @param tau_ns Free precession time (ns)
 * @param readout_us Readout laser duration (us)
 * @return NV_OK on success
 */
nv_error_t event_table_ramsey(event_table_t *table,
                              uint32_t init_us,
                              uint32_t pi2_ns,
                              uint32_t tau_ns,
                              uint32_t readout_us);

/**
 * @brief Create Hahn echo sequence
 *
 * Laser init -> π/2 -> tau -> π -> tau -> π/2 -> Laser readout
 *
 * @param table Target event table
 * @param init_us Initialization laser duration (us)
 * @param pi2_ns Pi/2 pulse duration (ns)
 * @param pi_ns Pi pulse duration (ns)
 * @param tau_ns Echo delay time (ns)
 * @param readout_us Readout laser duration (us)
 * @return NV_OK on success
 */
nv_error_t event_table_hahn_echo(event_table_t *table,
                                 uint32_t init_us,
                                 uint32_t pi2_ns,
                                 uint32_t pi_ns,
                                 uint32_t tau_ns,
                                 uint32_t readout_us);

/**
 * @brief Create ODMR (CW) measurement sequence
 *
 * Continuous laser + swept MW frequency
 *
 * @param table Target event table
 * @param dwell_us Dwell time per frequency point (us)
 * @param points Number of frequency points
 * @return NV_OK on success
 */
nv_error_t event_table_odmr_cw(event_table_t *table,
                               uint32_t dwell_us,
                               uint32_t points);

#ifdef __cplusplus
}
#endif

#endif /* EVENT_TABLE_H */
```

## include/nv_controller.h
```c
/*
 * NV-Center Controller - Main Header
 *
 * SPDX-License-Identifier: Apache-2.0
 *
 * Hardware-timed pulse sequencer for NV-center quantum sensing
 * on Teensy 4.1 (i.MX RT1062) with Zephyr RTOS.
 */

#ifndef NV_CONTROLLER_H
#define NV_CONTROLLER_H

#include <zephyr/kernel.h>
#include <stdint.h>
#include <stdbool.h>

#ifdef __cplusplus
extern "C" {
#endif

/*
 * Version information
 */
#define NV_CONTROLLER_VERSION_MAJOR  1
#define NV_CONTROLLER_VERSION_MINOR  0
#define NV_CONTROLLER_VERSION_PATCH  0

/*
 * TTL Channel Definitions
 *
 * Each channel corresponds to a physical output for controlling
 * the NV-center sensing apparatus:
 *
 * - MW_I:   Microwave I (in-phase) component for spin manipulation
 * - MW_Q:   Microwave Q (quadrature) component for IQ modulation
 * - LASER:  Green laser (532nm) for initialization and readout
 * - MASTER: Master pulse for lock-in amplifier reference
 */
typedef enum {
    NV_CHANNEL_MW_I      = 0,  /* Microwave In-phase */
    NV_CHANNEL_MW_Q      = 1,  /* Microwave Quadrature */
    NV_CHANNEL_LASER     = 2,  /* Laser control */
    NV_CHANNEL_MASTER    = 3,  /* Master pulse (lock-in ref) */
    NV_CHANNEL_TRIG_OUT  = 4,  /* External trigger output */
    NV_CHANNEL_AUX_0     = 5,  /* Auxiliary channel 0 */
    NV_CHANNEL_AUX_1     = 6,  /* Auxiliary channel 1 */
    NV_CHANNEL_AUX_2     = 7,  /* Auxiliary channel 2 */
    NV_CHANNEL_COUNT     = 8   /* Total number of channels */
} nv_channel_t;

/* Channel bitmask type for simultaneous channel operations */
typedef uint8_t nv_channel_mask_t;

#define NV_MASK_MW_I      (1U << NV_CHANNEL_MW_I)
#define NV_MASK_MW_Q      (1U << NV_CHANNEL_MW_Q)
#define NV_MASK_LASER     (1U << NV_CHANNEL_LASER)
#define NV_MASK_MASTER    (1U << NV_CHANNEL_MASTER)
#define NV_MASK_TRIG_OUT  (1U << NV_CHANNEL_TRIG_OUT)
#define NV_MASK_ALL       ((1U << NV_CHANNEL_COUNT) - 1)

/*
 * System Status
 */
typedef enum {
    NV_STATUS_IDLE       = 0,  /* Ready, not running */
    NV_STATUS_ARMED      = 1,  /* Sequence loaded, awaiting trigger */
    NV_STATUS_RUNNING    = 2,  /* Sequence executing */
    NV_STATUS_PAUSED     = 3,  /* Sequence paused */
    NV_STATUS_ERROR      = 4,  /* Error condition */
    NV_STATUS_OVERFLOW   = 5,  /* Event buffer overflow */
} nv_status_t;

/*
 * Error Codes
 */
typedef enum {
    NV_OK                = 0,
    NV_ERR_INVALID_ARG   = -1,
    NV_ERR_NO_MEMORY     = -2,
    NV_ERR_BUSY          = -3,
    NV_ERR_NOT_READY     = -4,
    NV_ERR_OVERFLOW      = -5,
    NV_ERR_UNDERFLOW     = -6,
    NV_ERR_TIMEOUT       = -7,
    NV_ERR_HARDWARE      = -8,
    NV_ERR_PROTOCOL      = -9,
    NV_ERR_SEQUENCE      = -10,
} nv_error_t;

/*
 * Trigger Modes
 */
typedef enum {
    NV_TRIGGER_IMMEDIATE = 0,  /* Start immediately when armed */
    NV_TRIGGER_SOFTWARE  = 1,  /* Wait for software trigger command */
    NV_TRIGGER_EXTERNAL  = 2,  /* Wait for external trigger input */
    NV_TRIGGER_ADC_SYNC  = 3,  /* Synchronize with ADC_ETC */
} nv_trigger_mode_t;

/*
 * Timing Constants
 *
 * Based on i.MX RT1062 GPT timer at 150MHz input clock
 */
#define NV_TIMER_FREQ_HZ          150000000UL  /* 150 MHz */
#define NV_TIMER_TICK_NS          7            /* ~6.67ns per tick */
#define NV_MIN_PULSE_TICKS        2            /* Minimum pulse width */
#define NV_MAX_SEQUENCE_DURATION  0xFFFFFFFFUL /* 32-bit timer */

/* Convert nanoseconds to timer ticks */
static inline uint32_t nv_ns_to_ticks(uint32_t ns)
{
    return (uint32_t)(((uint64_t)ns * NV_TIMER_FREQ_HZ) / 1000000000ULL);
}

/* Convert timer ticks to nanoseconds */
static inline uint32_t nv_ticks_to_ns(uint32_t ticks)
{
    return (uint32_t)(((uint64_t)ticks * 1000000000ULL) / NV_TIMER_FREQ_HZ);
}

/* Convert microseconds to timer ticks */
static inline uint32_t nv_us_to_ticks(uint32_t us)
{
    return (uint32_t)(((uint64_t)us * NV_TIMER_FREQ_HZ) / 1000000ULL);
}

/*
 * System Information Structure
 */
typedef struct {
    uint8_t version_major;
    uint8_t version_minor;
    uint8_t version_patch;
    uint8_t channel_count;
    uint32_t timer_freq_hz;
    uint32_t min_pulse_ns;
    uint32_t max_events;
    uint32_t dma_buffer_size;
} nv_system_info_t;

/*
 * Runtime Statistics
 */
typedef struct {
    uint32_t sequences_completed;
    uint32_t events_executed;
    uint32_t trigger_count;
    uint32_t overflow_count;
    uint32_t underrun_count;
    uint32_t max_latency_ticks;
    uint32_t last_sequence_duration_us;
} nv_statistics_t;

/*
 * Callback function types
 */
typedef void (*nv_sequence_callback_t)(nv_status_t status, void *user_data);
typedef void (*nv_trigger_callback_t)(uint32_t timestamp, void *user_data);
typedef void (*nv_error_callback_t)(nv_error_t error, void *user_data);

/*
 * Global system functions (implemented in main.c)
 */
nv_error_t nv_controller_init(void);
nv_error_t nv_controller_start(void);
nv_error_t nv_controller_stop(void);
nv_status_t nv_controller_get_status(void);
void nv_controller_get_info(nv_system_info_t *info);
void nv_controller_get_statistics(nv_statistics_t *stats);
void nv_controller_reset_statistics(void);

#ifdef __cplusplus
}
#endif

#endif /* NV_CONTROLLER_H */
```
